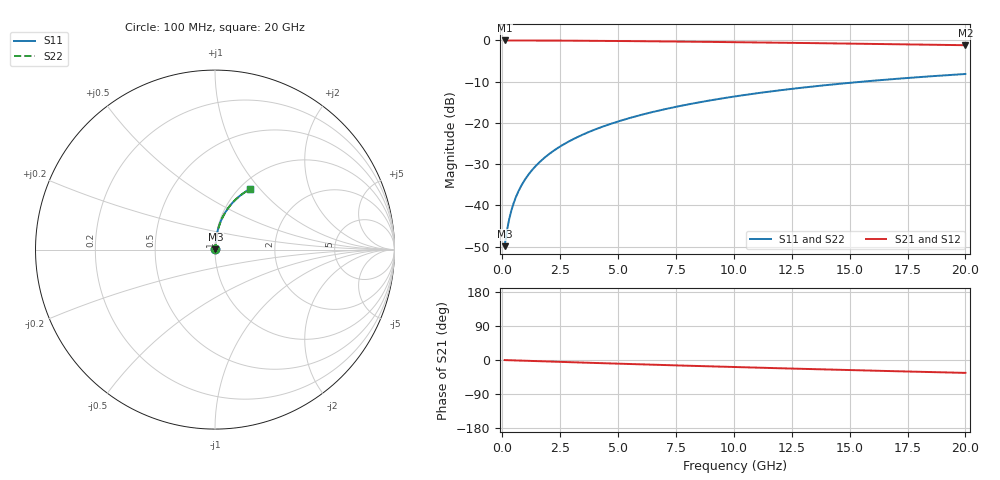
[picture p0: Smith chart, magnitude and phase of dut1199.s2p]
! Touchstone file exported from HFSS 2024.1.0
!  File:  C:/UserFiles/LocalFiles/RDL_TSV_Batchsim/temp_RDL_top_1199_1780049919.aedt
!  Generated:  06:20:58 PM May 29, 2026
!  Design:  RDL_top
!  Project:  temp_RDL_top_1199_1780049919
!  Setup:  Setup1
!  Solution:  Sweep
! Variables:
!  dtsv = 10.80580581um
!  hbump = 3um
!  htsv = 63.14um
!  ldown = 100um
!  lrdl = 410.81um
!  p = 40
!  p1 = 58.01um
!  rhole = 1um
!  t = 450um
!  tdown = 3.915915916um
!  trdl = 4.01um
!  wdown = 15.38538539um
!  wrdl = 16.24um
# GHz S MA R 50.000000
! Terminal data exported
! Port[1] = Box2_T1
! Port[2] = Box2_T2
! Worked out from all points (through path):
!   200 points, 100 MHz to 20 GHz, reference 50 ohm
!   highest |S21| = -0.02 dB at 100 MHz (marker M1); lowest = -1.2 dB at 20 GHz (marker M2)
!   group delay of S21, straight-line fit = 4.7 ps
!   lowest |S11| = -49.9 dB at 100 MHz (marker M3), VSWR 1.01, Z = 50.2 + j0.216 ohm
!   |S11| at or under -10 dB: start of sweep to 15.58 GHz
!   |S22| runs from -49.9 to -8.2 dB; largest |S21 - S12| = 2.5e-15
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0.1  0.003201 42.3  0.9976 -0.2  0.9976 -0.2  0.003201 42.3
! Gamma 0 0 0 0
! Port Impedance 50 0 50 0
0.2  0.004928 60.3  0.9976 -0.4  0.9976 -0.4  0.004928 60.3
0.3  0.006858 68.4  0.9974 -0.6  0.9974 -0.6  0.006858 68.4
0.4  0.008839 72.7  0.9973 -0.8  0.9973 -0.8  0.008839 72.7
0.5  0.01084 75.5  0.9972 -1.0  0.9972 -1.0  0.01084 75.5
0.6  0.01284 77.4  0.9971 -1.2  0.9971 -1.2  0.01284 77.4
0.8  0.01688 79.9  0.9969 -1.6  0.9969 -1.6  0.01688 79.9
1.1  0.02298 81.8  0.9965 -2.2  0.9965 -2.2  0.02298 81.8
1.5  0.03116 83.1  0.9958 -3.0  0.9958 -3.0  0.03116 83.1
1.8  0.03732 83.6  0.9951 -3.6  0.9951 -3.6  0.03732 83.6
2.1  0.0435 83.8  0.9944 -4.2  0.9944 -4.2  0.0435 83.8
2.7  0.05591 83.8  0.9926 -5.3  0.9926 -5.3  0.05591 83.8
3.5  0.07255 83.4  0.9896 -6.9  0.9896 -6.9  0.07255 83.4
4.2  0.08717 82.8  0.9866 -8.2  0.9866 -8.2  0.08717 82.8
5  0.1039 82.0  0.9826 -9.7  0.9826 -9.7  0.1039 82.0
5.9  0.1229 80.9  0.9777 -11.3  0.9777 -11.3  0.1229 80.9
6.8  0.1418 79.8  0.9724 -13.0  0.9724 -13.0  0.1418 79.8
8.4  0.1753 77.5  0.9623 -15.8  0.9623 -15.8  0.1753 77.5
10.1  0.2103 74.9  0.9507 -18.7  0.9507 -18.7  0.2103 74.9
13.4  0.2757 69.7  0.9264 -24.1  0.9264 -24.1  0.2757 69.7
16.7  0.3362 64.6  0.9005 -29.2  0.9005 -29.2  0.3362 64.6
20  0.3911 59.7  0.8737 -34.0  0.8737 -34.0  0.3911 59.7
